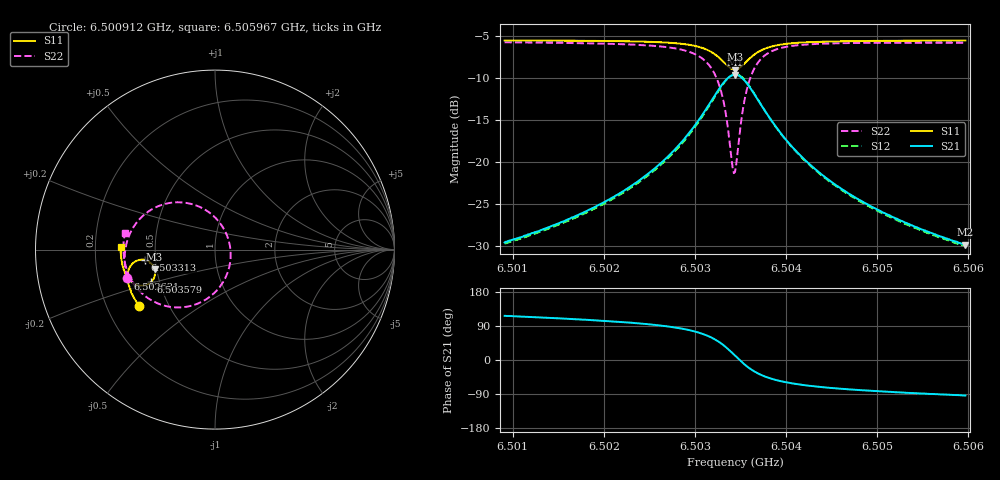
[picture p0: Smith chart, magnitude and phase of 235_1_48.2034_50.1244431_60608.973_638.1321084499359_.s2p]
#  HZ  S  RI  R  50.00
! Rohde & Schwarz Vector Network Analyzer
! Rohde-Schwarz,ZNB20-2Port,1311601062101988,3.16
! Created: UTC 3/20/2024, 11:46:36 AM
! freq[Hz]  re:S11  im:S11  re:S21  im:S21  re:S12  im:S12  re:S22  im:S22
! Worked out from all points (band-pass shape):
!   401 points, 6.500912 GHz to 6.505967 GHz, reference 50 ohm
!   highest |S21| = -9.64 dB at 6.50344 GHz (marker M1); lowest = -29.8 dB at 6.505967 GHz (marker M2)
!   |S21| within 3 dB of the highest: 6.503186 GHz to 6.503692 GHz (505.8 kHz wide, 0.00778 % of centre)
!   lowest |S11| = -9.0 dB at 6.50344 GHz (marker M3), VSWR 2.09, Z = 24.3 - j5.97 ohm
!   |S11| at or under -10 dB: nowhere
!   |S22| runs from -21.3 to -5.8 dB; largest |S21 - S12| = 0.011
!   S11 on the Smith chart (normalised r, x): 6.500912 GHz: 0.34, -0.29; 6.502631 GHz: 0.33, -0.15; 6.503313 GHz: 0.44, -0.06; 6.503579 GHz: 0.45, -0.19; 6.505967 GHz: 0.31, +0.01
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6.5009118e9  -0.4244 -0.3116  -0.0149 0.0298  -0.0133 0.0299  -0.4889 -0.1574
6.5017586e9  -0.4612 -0.2493  -0.0142 0.0476  -0.0119 0.0472  -0.5026 -0.0679
6.5022136e9  -0.4773 -0.2092  -0.0117 0.0661  -0.00856 0.0652  -0.5003 -0.00404
6.5026054e9  -0.4868 -0.1663  -0.00253 0.0963  0.00115 0.0939  -0.4806 0.0734
6.5026306e9  -0.4871 -0.1631  -0.00134 0.0991  0.0025 0.0966  -0.4781 0.0796
6.5029213e9  -0.4834 -0.1185  0.0259 0.1428  0.0298 0.1385  -0.4213 0.1686
6.5031109e9  -0.4621 -0.0804  0.0803 0.185  0.0827 0.1788  -0.3176 0.2412
6.5032247e9  -0.4295 -0.0596  0.1495 0.2024  0.1503 0.1962  -0.1927 0.2633
6.5033131e9  -0.3891 -0.058  0.2291 0.186  0.2293 0.181  -0.0554 0.2224
6.503351e9  -0.3697 -0.0658  0.2654 0.1626  0.2663 0.1581  0.0047 0.175
6.5034142e9  -0.3431 -0.0928  0.313 0.0984  0.3156 0.0934  0.0762 0.0512
6.5034395e9  -0.3368 -0.1073  0.323 0.066  0.3262 0.0601  0.0867 -0.00917
6.5034648e9  -0.3338 -0.1231  0.3264 0.0322  0.33 0.0253  0.0846 -0.0708
6.503528e9  -0.3411 -0.1602  0.3079 -0.0456  0.31 -0.0557  0.0279 -0.2061
6.5035785e9  -0.3577 -0.1821  0.2742 -0.0911  0.2738 -0.1022  -0.0489 -0.2768
6.5036923e9  -0.4021 -0.2013  0.19 -0.1354  0.1845 -0.1449  -0.2197 -0.3219
6.5038566e9  -0.4482 -0.1916  0.1083 -0.1322  0.1013 -0.1371  -0.3667 -0.2748
6.5040335e9  -0.4755 -0.1701  0.0637 -0.112  0.0576 -0.1142  -0.4387 -0.2098
6.5042863e9  -0.4963 -0.1402  0.0338 -0.0877  0.0291 -0.0881  -0.4818 -0.1375
6.5046781e9  -0.5121 -0.0995  0.0143 -0.0638  0.0112 -0.0634  -0.5046 -0.0607
6.5051331e9  -0.521 -0.0576  0.00499 -0.0481  0.00273 -0.0473  -0.5104 0.00308
6.5059672e9  -0.5259 0.013  -0.00214 -0.0322  -0.00348 -0.0315  -0.5023 0.0911
